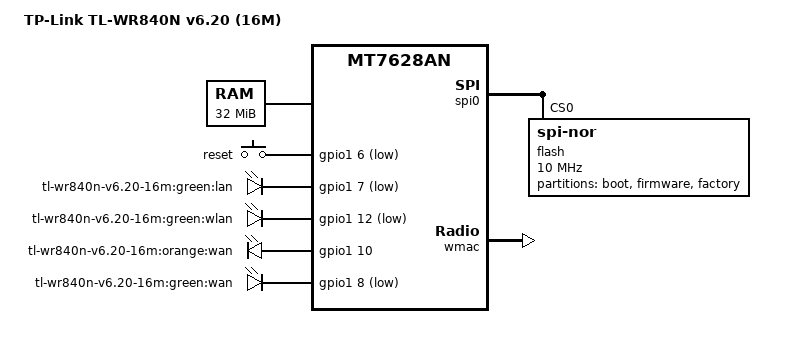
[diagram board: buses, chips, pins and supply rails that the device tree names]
/dts-v1/;

#include "mt7628an.dtsi"

#include <dt-bindings/gpio/gpio.h>
#include <dt-bindings/input/input.h>

/ {
	compatible = "tplink,tl-wr840n-v6.20-16m", "mediatek,mt7628an-soc";
	model = "TP-Link TL-WR840N v6.20 (16M)";

	aliases {
		led-boot = &led_power;
		led-failsafe = &led_power;
		led-running = &led_power;
		led-upgrade = &led_power;
	};

	chosen {
		bootargs = "console=ttyS0,115200";
	};

	memory@0 {
		device_type = "memory";
		reg = <0x0 0x2000000>;
	};

	keys {
		compatible = "gpio-keys-polled";
		poll-interval = <20>;

		reset {
			label = "reset";
			gpios = <&gpio1 6 GPIO_ACTIVE_LOW>;
			linux,code = <KEY_RESTART>;
		};
	};
	/* LED used is dual-color,dual lead LED */
	leds {
		compatible = "gpio-leds";

		lan {
			label = "tl-wr840n-v6.20-16m:green:lan";
			gpios = <&gpio1 7 GPIO_ACTIVE_LOW>;
		};

		wlan {
			label = "tl-wr840n-v6.20-16m:green:wlan";
			gpios = <&gpio1 12 GPIO_ACTIVE_LOW>;
		};

		led_power: orange {
			label = "tl-wr840n-v6.20-16m:orange:wan";
			gpios = <&gpio1 10 GPIO_ACTIVE_HIGH>;
		};

		green {
			label = "tl-wr840n-v6.20-16m:green:wan";
			gpios = <&gpio1 8 GPIO_ACTIVE_LOW>;
		};
	};
};

&spi0 {
	status = "okay";

	flash@0 {
		compatible = "jedec,spi-nor";
		reg = <0>;
		spi-max-frequency = <10000000>;

		partitions {
			compatible = "fixed-partitions";
			#address-cells = <1>;
			#size-cells = <1>;

			partition@0 {
				label = "boot";
				reg = <0x0 0x10000>;
				read-only;
			};

			partition@10000 {
				compatible = "tplink,firmware";
				label = "firmware";
				reg = <0x10000 0xfe0000>;
			};

			factory: partition@ff0000 {
				label = "factory";
				reg = <0xff0000 0x10000>;
				read-only;
			};
		};
	};
};

&ehci {
	status = "disabled";
};

&ohci {
	status = "disabled";
};

&wmac {
	status = "okay";
	mtd-mac-address = <&factory 0xf100>;
	mediatek,mtd-eeprom = <&factory 0x0>;
};

&ethernet {
	mtd-mac-address = <&factory 0xf100>;
	mediatek,portmap = "wllll";
};

&pinctrl {
	state_default: pinctrl0 {
		gpio {
			ralink,group = "p1led_an", "p3led_an", "p4led_an", "wled_an", "perst";
			ralink,function = "gpio";
		};
	};
};
